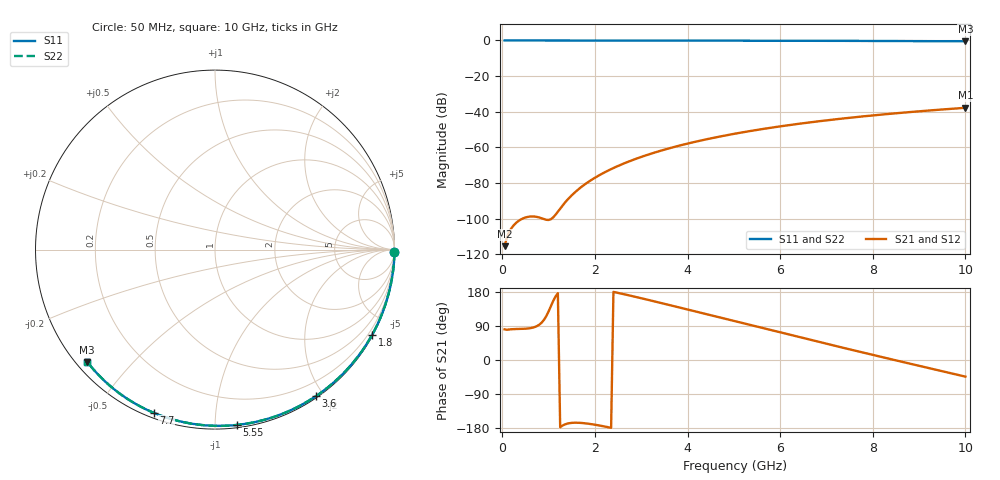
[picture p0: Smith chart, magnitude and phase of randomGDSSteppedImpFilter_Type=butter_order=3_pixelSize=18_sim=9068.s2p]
! freq	dB(S11)	phase(S11)	dB(S12)	phase(S12)
!  dB(S21)	phase(S21)	dB(S22)	phase(S22)
!S-par simulation data
#  GHz  S  DB  R 50
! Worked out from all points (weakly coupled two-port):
!   200 points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, 50 MHz to 10 GHz, reference 50 ohm
!   highest |S21| = -37.82 dB at 10 GHz (marker M1); lowest = -115.5 dB at 50 MHz (marker M2)
!   lowest |S11| = -0.5 dB at 10 GHz (marker M3), VSWR 37.08, Z = 1.54 - j18.8 ohm
!   |S11| at or under -10 dB: nowhere
!   |S22| runs from -0.5 to 0.0 dB; largest |S21 - S12| = 0
!   S11 on the Smith chart (normalised r, x): 50 MHz: open; 1.8 GHz: 0.03, -3.95; 3.6 GHz: 0.02, -1.90; 5.55 GHz: 0.02, -1.13; 7.7 GHz: 0.02, -0.69; 10 GHz: 0.03, -0.38
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0.05  -0.00 -0.8  -115.53 80.9  -115.53 80.9  -0.00 -0.8
0.45  -0.01 -7.2  -99.90 82.2  -99.90 82.2  -0.01 -7.2
0.9  -0.02 -14.4  -100.34 105.9  -100.34 105.9  -0.02 -14.4
1.75  -0.04 -27.7  -81.43 -166.6  -81.43 -166.6  -0.04 -27.7
1.8  -0.04 -28.4  -80.49 -167.2  -80.49 -167.2  -0.04 -28.4
1.85  -0.04 -29.2  -79.59 -168.0  -79.59 -168.0  -0.04 -29.2
2.05  -0.04 -32.3  -76.34 -171.8  -76.34 -171.8  -0.04 -32.3
2.25  -0.05 -35.4  -73.53 -176.5  -73.53 -176.5  -0.05 -35.4
2.55  -0.05 -39.9  -69.90 175.7  -69.90 175.7  -0.05 -39.9
2.95  -0.06 -46.0  -65.87 164.5  -65.87 164.5  -0.06 -46.0
3.4  -0.07 -52.6  -62.09 151.3  -62.09 151.3  -0.07 -52.6
3.6  -0.07 -55.6  -60.60 145.3  -60.60 145.3  -0.07 -55.6
3.9  -0.08 -59.9  -58.56 136.3  -58.56 136.3  -0.08 -59.9
4.3  -0.09 -65.6  -56.12 124.2  -56.12 124.2  -0.09 -65.6
5.05  -0.12 -76.1  -52.23 101.4  -52.23 101.4  -0.12 -76.1
5.55  -0.14 -82.9  -50.03 86.3  -50.03 86.3  -0.14 -82.9
6.1  -0.16 -90.2  -47.88 69.7  -47.88 69.7  -0.16 -90.2
6.7  -0.19 -98.0  -45.81 51.8  -45.81 51.8  -0.19 -98.0
7.7  -0.25 -110.6  -42.88 22.3  -42.88 22.3  -0.25 -110.6
8.35  -0.30 -118.7  -41.24 3.3  -41.24 3.3  -0.30 -118.7
9.2  -0.38 -129.0  -39.37 -21.1  -39.37 -21.1  -0.38 -129.0
10  -0.47 -138.7  -37.82 -43.9  -37.82 -43.9  -0.47 -138.7
